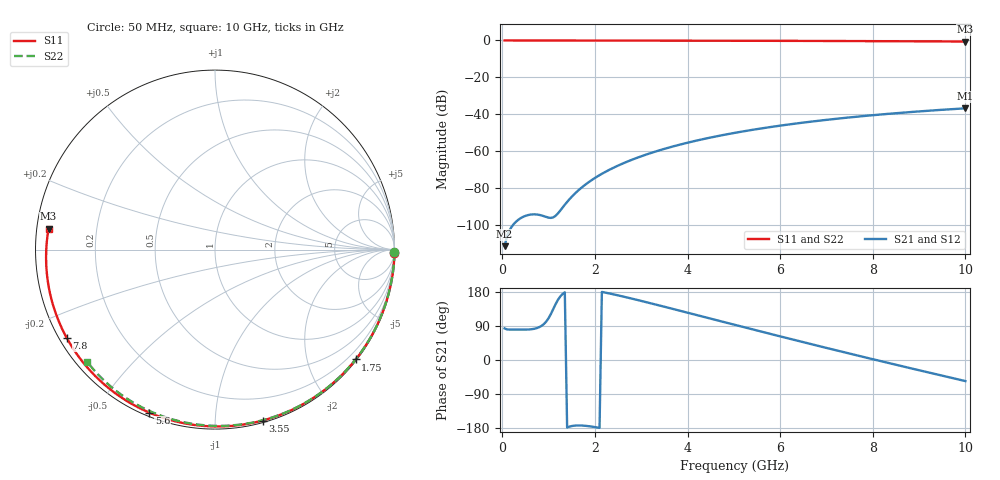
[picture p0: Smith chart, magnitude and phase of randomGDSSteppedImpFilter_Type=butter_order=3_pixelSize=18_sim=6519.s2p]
! freq	dB(S11)	phase(S11)	dB(S12)	phase(S12)
!  dB(S21)	phase(S21)	dB(S22)	phase(S22)
!S-par simulation data
#  GHz  S  DB  R 50
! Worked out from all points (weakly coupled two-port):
!   200 points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, 50 MHz to 10 GHz, reference 50 ohm
!   highest |S21| = -36.75 dB at 10 GHz (marker M1); lowest = -111.4 dB at 50 MHz (marker M2)
!   lowest |S11| = -0.6 dB at 10 GHz (marker M3), VSWR 29.56, Z = 1.7 + j3.12 ohm
!   |S11| at or under -10 dB: nowhere
!   |S22| runs from -0.5 to 0.0 dB; largest |S21 - S12| = 0
!   S11 on the Smith chart (normalised r, x): 50 MHz: open; 1.75 GHz: 0.03, -2.90; 3.55 GHz: 0.02, -1.32; 5.6 GHz: 0.02, -0.68; 7.8 GHz: 0.02, -0.28; 10 GHz: 0.03, +0.06
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0.05  -0.00 -1.1  -111.41 83.4  -111.41 83.4  -0.00 -0.8
0.4  -0.01 -8.9  -96.19 80.1  -96.19 80.1  -0.01 -6.4
0.8  -0.02 -17.6  -94.48 86.8  -94.48 86.8  -0.02 -12.8
1.2  -0.03 -26.3  -93.71 158.5  -93.71 158.5  -0.02 -19.1
1.65  -0.05 -35.9  -81.01 -172.7  -81.01 -172.7  -0.03 -26.1
1.7  -0.05 -36.9  -79.93 -172.9  -79.93 -172.9  -0.03 -26.9
1.75  -0.05 -38.0  -78.91 -173.2  -78.91 -173.2  -0.04 -27.6
2.05  -0.06 -44.3  -73.70 -178.1  -73.70 -178.1  -0.04 -32.3
2.45  -0.07 -52.5  -68.35 171.9  -68.35 171.9  -0.05 -38.4
2.9  -0.08 -61.6  -63.64 159.0  -63.64 159.0  -0.06 -45.2
3.4  -0.09 -71.5  -59.45 143.7  -59.45 143.7  -0.07 -52.6
3.55  -0.10 -74.4  -58.35 139.0  -58.35 139.0  -0.07 -54.8
4.3  -0.13 -88.6  -53.63 115.4  -53.63 115.4  -0.09 -65.6
5.05  -0.16 -102.2  -49.90 91.9  -49.90 91.9  -0.12 -76.0
5.6  -0.18 -111.9  -47.61 74.7  -47.61 74.7  -0.14 -83.5
6.15  -0.22 -121.4  -45.62 57.8  -45.62 57.8  -0.16 -90.8
6.7  -0.25 -130.8  -43.86 41.0  -43.86 41.0  -0.19 -97.9
7.25  -0.29 -140.0  -42.32 24.4  -42.32 24.4  -0.22 -104.9
7.8  -0.34 -149.2  -40.94 8.0  -40.94 8.0  -0.26 -111.8
8.35  -0.39 -158.5  -39.71 -8.2  -39.71 -8.2  -0.30 -118.6
9.2  -0.49 -173.0  -38.06 -32.8  -38.06 -32.8  -0.38 -128.9
10  -0.59 172.8  -36.75 -55.6  -36.75 -55.6  -0.47 -138.6
